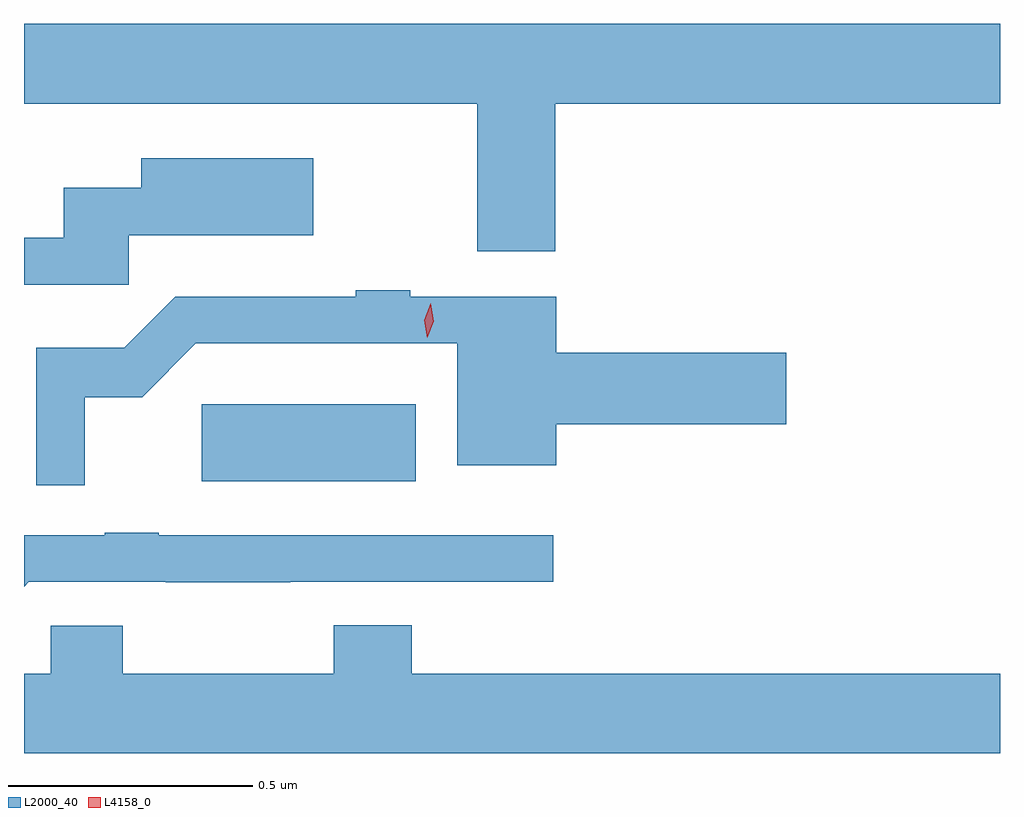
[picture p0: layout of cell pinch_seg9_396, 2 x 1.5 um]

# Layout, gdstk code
import gdstk
lib = gdstk.Library(unit=1e-6, precision=1e-09)
def R(c, l, rs):  # rectangles x0, y0, x1, y1
    for r in rs: c.add(gdstk.rectangle(r[:2], r[2:], *l))
def P(c, l, *ps):  # polygons
    for p in ps: c.add(gdstk.Polygon(p, *l))
L2000_40 = (2000, 40)
L4158_0 = (4158, 0)

pinch_seg9_396 = lib.new_cell('pinch_seg9_396')
R(pinch_seg9_396, L2000_40, [(268.875,1235.606,269.314,1235.764)])
P(pinch_seg9_396, L2000_40, [(269.6,1236.38),(270.511,1236.38),(270.511,1236.544),(268.511,1236.544),(268.511,1236.38),(269.44,1236.38),(269.44,1236.078),(269.6,1236.078)],
  [(268.726,1236.111),(269.104,1236.111),(269.104,1236.268),(268.751,1236.268),(268.751,1236.208),(268.592,1236.208),(268.592,1236.105),(268.511,1236.105),(268.511,1236.009),(268.726,1236.009)],
  [(268.635,1235.779),(268.753,1235.779),(268.863,1235.889),(269.399,1235.889),(269.399,1235.639),(269.602,1235.639),(269.602,1235.723),(270.073,1235.723),(270.073,1235.87),(269.602,1235.87),(269.602,1235.985),(269.303,1235.985),(269.303,1235.998),(269.191,1235.998),(269.191,1235.985),(268.821,1235.985),(268.716,1235.88),(268.536,1235.88),(268.536,1235.598),(268.635,1235.598)],
  [(268.521,1235.4),(268.801,1235.4),(268.801,1235.399),(269.057,1235.399),(269.057,1235.4),(269.596,1235.4),(269.596,1235.496),(268.787,1235.496),(268.787,1235.501),(268.676,1235.501),(268.676,1235.496),(268.511,1235.496),(268.511,1235.39)],
  [(270.511,1235.212),(269.306,1235.212),(269.306,1235.311),(269.146,1235.311),(269.146,1235.212),(268.713,1235.212),(268.713,1235.31),(268.566,1235.31),(268.566,1235.212),(268.511,1235.212),(268.511,1235.049),(270.511,1235.049)])
P(pinch_seg9_396, L4158_0, [(269.337,1235.9),(269.337,1235.9),(269.331,1235.936),(269.345,1235.971),(269.345,1235.971),(269.345,1235.971),(269.351,1235.934),(269.337,1235.9)])

lib.write_gds('pinch_seg9_396.gds')
